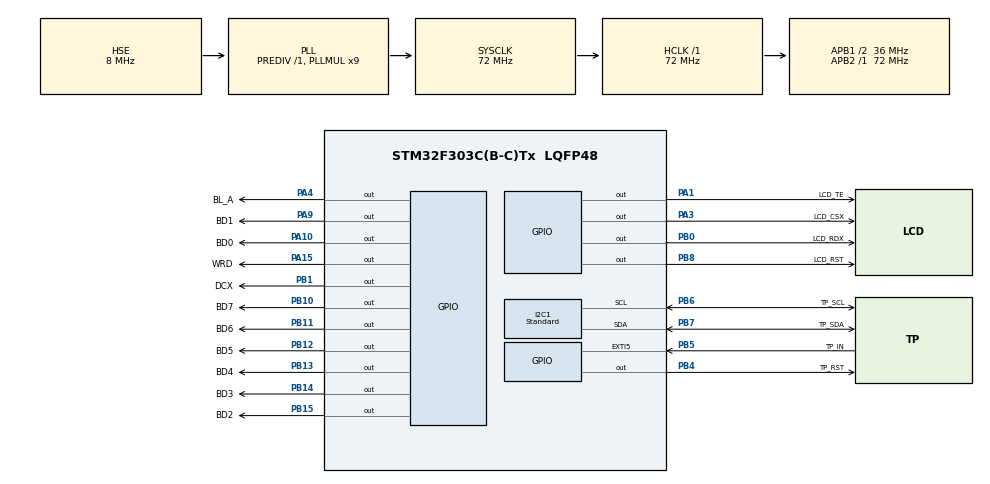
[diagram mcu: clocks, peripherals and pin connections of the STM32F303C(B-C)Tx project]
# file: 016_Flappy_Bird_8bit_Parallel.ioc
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I2C1.I2C_Speed_Mode=I2C_Standard
Mcu.Family=STM32F3
Mcu.Name=STM32F303C(B-C)Tx
Mcu.Package=LQFP48
NVIC.EXTI9_5_IRQn=true\:0\:0\:false\:false\:true\:true\:true\:true
NVIC.PriorityGroup=NVIC_PRIORITYGROUP_4
PA1.GPIO_Label=LCD_TE
PA1.GPIO_Speed=GPIO_SPEED_FREQ_HIGH
PA1.Signal=GPIO_Output
PA10.GPIO_Label=BD0
PA10.GPIO_Speed=GPIO_SPEED_FREQ_HIGH
PA10.Signal=GPIO_Output
PA13.Mode=Trace_Asynchronous_SW
PA13.Signal=SYS_JTMS-SWDIO
PA14.Mode=Trace_Asynchronous_SW
PA14.Signal=SYS_JTCK-SWCLK
PA15.GPIO_Label=WRD
PA15.GPIO_Speed=GPIO_SPEED_FREQ_HIGH
PA15.Signal=GPIO_Output
PA3.GPIO_Label=LCD_CSX
PA3.GPIO_Speed=GPIO_SPEED_FREQ_HIGH
PA3.Signal=GPIO_Output
PA4.GPIO_Label=BL_A
PA4.GPIO_Speed=GPIO_SPEED_FREQ_HIGH
PA4.Signal=GPIO_Output
PA9.GPIO_Label=BD1
PA9.GPIO_Speed=GPIO_SPEED_FREQ_HIGH
PA9.Signal=GPIO_Output
PB0.GPIO_Label=LCD_RDX
PB0.GPIO_Speed=GPIO_SPEED_FREQ_HIGH
PB0.Signal=GPIO_Output
PB1.GPIO_Label=DCX
PB1.GPIO_Speed=GPIO_SPEED_FREQ_HIGH
PB1.Signal=GPIO_Output
PB10.GPIO_Label=BD7
PB10.GPIO_Speed=GPIO_SPEED_FREQ_HIGH
PB10.Signal=GPIO_Output
PB11.GPIO_Label=BD6
PB11.GPIO_Speed=GPIO_SPEED_FREQ_HIGH
PB11.Signal=GPIO_Output
PB12.GPIO_Label=BD5
PB12.GPIO_Speed=GPIO_SPEED_FREQ_HIGH
PB12.Signal=GPIO_Output
PB13.GPIO_Label=BD4
PB13.GPIO_Speed=GPIO_SPEED_FREQ_HIGH
PB13.Signal=GPIO_Output
PB14.GPIO_Label=BD3
PB14.GPIO_Speed=GPIO_SPEED_FREQ_HIGH
PB14.Signal=GPIO_Output
PB15.GPIO_Label=BD2
PB15.GPIO_Speed=GPIO_SPEED_FREQ_HIGH
PB15.Signal=GPIO_Output
PB3.Mode=Trace_Asynchronous_SW
PB3.Signal=SYS_JTDO-TRACESWO
PB4.GPIO_Label=TP_RST
PB4.GPIO_Speed=GPIO_SPEED_FREQ_HIGH
PB4.Signal=GPIO_Output
PB5.GPIO_Label=TP_IN
PB5.Signal=GPXTI5
PB6.GPIO_Label=TP_SCL
PB6.Mode=I2C
PB6.Signal=I2C1_SCL
PB7.GPIO_Label=TP_SDA
PB7.Mode=I2C
PB7.Signal=I2C1_SDA
PB8.GPIO_FM8=SYSCFG_CFGR1_I2C_PB8_FMP
PB8.GPIO_Label=LCD_RST
PB8.GPIO_Speed=GPIO_SPEED_FREQ_HIGH
PB8.PinState=GPIO_PIN_RESET
PB8.Signal=GPIO_Output
PF0-OSC_IN.Mode=HSE-External-Oscillator
PF0-OSC_IN.Signal=RCC_OSC_IN
PF1-OSC_OUT.Mode=HSE-External-Oscillator
PF1-OSC_OUT.Signal=RCC_OSC_OUT
ProjectManager.HeapSize=0x400
ProjectManager.StackSize=0x600
ProjectManager.TargetToolchain=STM32CubeIDE
RCC.AHBFreq_Value=72000000
RCC.APB1CLKDivider=RCC_HCLK_DIV2
RCC.APB1Freq_Value=36000000
RCC.APB1TimFreq_Value=72000000
RCC.APB2Freq_Value=72000000
RCC.APB2TimFreq_Value=72000000
RCC.CortexFreq_Value=72000000
RCC.HCLKFreq_Value=72000000
RCC.HSE_VALUE=8000000
RCC.HSI_VALUE=8000000
RCC.LSE_VALUE=32768
RCC.PLLMUL=RCC_PLL_MUL9
RCC.PLLSourceVirtual=RCC_PLLSOURCE_HSE
RCC.SYSCLKFreq_VALUE=72000000
RCC.SYSCLKSourceVirtual=RCC_SYSCLKSOURCE_PLLCLK
RCC.USBFreq_Value=72000000
board=custom

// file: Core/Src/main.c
/* USER CODE BEGIN Header */
/**
  ******************************************************************************
  * @file           : main.c
  * @brief          : Main program body
  ******************************************************************************
  * @attention
  *
  * Copyright (c) 2024 STMicroelectronics.
  * All rights reserved.
  *
  * This software is licensed under terms that can be found in the LICENSE file
  * in the root directory of this software component.
  * If no LICENSE file comes with this software, it is provided AS-IS.
  *
  ******************************************************************************
  */
/* USER CODE END Header */
#include "main.h"

/* USER CODE BEGIN Includes */
#include <string.h>
#include <stdio.h>
#include "mpu6050.h"
#include "player.h"
#include "background.h"
#include "obstacle.h"
#include "text_mssg.h"
#include "font.h"
#include "GC9A01A.h"
#include "CST816S.h"
/* USER CODE END Includes */

I2C_HandleTypeDef hi2c1;

/* USER CODE BEGIN PV */
double degreex, degreey;
int collision_detected = false;
int countdown_complete = false;
/* USER CODE END PV */

void SystemClock_Config(void);
static void MX_GPIO_Init(void);
static void MX_I2C1_Init(void);
/* USER CODE BEGIN PFP */
void is_Collide(Obstacle *obstacle, Player *player);
void nano_lcd_Init(void);
void tick();
/* USER CODE END PFP */

/* USER CODE BEGIN 0 */
GamteState game_state ;
Player player;
Obstacle obstacle;

static void Player_ctor(Player* player, int player_x, int player_w, int player_y, int player_h) {
	player->x = player_x;
	player->w = player_w;
	player->y = player_y;
	player->h = player_h;
	player->score = 0;
}

static void Obstacle_ctor(Obstacle* obstacle, int obstacle_x, int obstacle_w, int obstacle_y, int obstacle_g,
                            int obstacle_s) {
	obstacle->x = obstacle_x;
	obstacle->w = obstacle_w;
	obstacle->y = obstacle_y;
	obstacle->h = 0;
	obstacle->g = obstacle_g;
	obstacle->speed  = obstacle_s;
	obstacle->passed = false;
}
/* USER CODE END 0 */

int main(void)
{

  /* USER CODE BEGIN 1 */
	static uint32_t current_time;
	current_time = HAL_GetTick();
  /* USER CODE END 1 */

  /* MCU Configuration--------------------------------------------------------*/

  /* Reset of all peripherals, Initializes the Flash interface and the Systick. */
  HAL_Init();

  /* Configure the system clock */
  SystemClock_Config();

  /* Initialize all configured peripherals */
  MX_GPIO_Init();
  MX_I2C1_Init();
  /* USER CODE BEGIN 2 */
  Player_ctor(&player, 70, 30, 100, 30);
  Obstacle_ctor(&obstacle, 240, 30, 30, 80, 5);
  mpu6050_init();
  bsp_lcd_init();
  CST816S_init();
  flappy_game_set_back_ground();

  double prev_degreey = degreey; // Initialize previous angle variable
  static double angle_delta = 0.0; // Variable to store the angle change
  /* USER CODE END 2 */

  /* Infinite loop */
  while (1)
  {

    /* USER CODE BEGIN 3 */
  	mpu6050_read();

    if(HAL_GetTick() - current_time >= 2) {

      current_time = HAL_GetTick();

      angle_delta = degreey - prev_degreey;
      prev_degreey = degreey;
      double smoothing_factor = 6;

      player.y -= smoothing_factor * angle_delta;
      player.y += GRAVITY_PULL;

      if (player.y <= PLAYER_ySTART_POINT) {
        player.y = PLAYER_ySTART_POINT;
      } else if (player.y >= PLAYER_yEND_POINT) {
        player.y = PLAYER_yEND_POINT;
      }
      tick();
    }
  }
  /* USER CODE END 3 */
}

void SystemClock_Config(void)
{
  RCC_OscInitTypeDef RCC_OscInitStruct = {0};
  RCC_ClkInitTypeDef RCC_ClkInitStruct = {0};
  RCC_PeriphCLKInitTypeDef PeriphClkInit = {0};

  /** Initializes the RCC Oscillators according to the specified parameters
  * in the RCC_OscInitTypeDef structure.
  */
  RCC_OscInitStruct.OscillatorType = RCC_OSCILLATORTYPE_HSI|RCC_OSCILLATORTYPE_HSE;
  RCC_OscInitStruct.HSEState = RCC_HSE_ON;
  RCC_OscInitStruct.HSEPredivValue = RCC_HSE_PREDIV_DIV1;
  RCC_OscInitStruct.HSIState = RCC_HSI_ON;
  RCC_OscInitStruct.HSICalibrationValue = RCC_HSICALIBRATION_DEFAULT;
  RCC_OscInitStruct.PLL.PLLState = RCC_PLL_ON;
  RCC_OscInitStruct.PLL.PLLSource = RCC_PLLSOURCE_HSE;
  RCC_OscInitStruct.PLL.PLLMUL = RCC_PLL_MUL9;
  if (HAL_RCC_OscConfig(&RCC_OscInitStruct) != HAL_OK)
  {
    Error_Handler();
  }

  /** Initializes the CPU, AHB and APB buses clocks
  */
  RCC_ClkInitStruct.ClockType = RCC_CLOCKTYPE_HCLK|RCC_CLOCKTYPE_SYSCLK
                              |RCC_CLOCKTYPE_PCLK1|RCC_CLOCKTYPE_PCLK2;
  RCC_ClkInitStruct.SYSCLKSource = RCC_SYSCLKSOURCE_PLLCLK;
  RCC_ClkInitStruct.AHBCLKDivider = RCC_SYSCLK_DIV1;
  RCC_ClkInitStruct.APB1CLKDivider = RCC_HCLK_DIV2;
  RCC_ClkInitStruct.APB2CLKDivider = RCC_HCLK_DIV1;

  if (HAL_RCC_ClockConfig(&RCC_ClkInitStruct, FLASH_LATENCY_2) != HAL_OK)
  {
    Error_Handler();
  }
  PeriphClkInit.PeriphClockSelection = RCC_PERIPHCLK_I2C1;
  PeriphClkInit.I2c1ClockSelection = RCC_I2C1CLKSOURCE_HSI;
  if (HAL_RCCEx_PeriphCLKConfig(&PeriphClkInit) != HAL_OK)
  {
    Error_Handler();
  }
}

static void MX_I2C1_Init(void)
{

  hi2c1.Instance = I2C1;
  hi2c1.Init.Timing = 0x2000090E;
  hi2c1.Init.OwnAddress1 = 0;
  hi2c1.Init.AddressingMode = I2C_ADDRESSINGMODE_7BIT;
  hi2c1.Init.DualAddressMode = I2C_DUALADDRESS_DISABLE;
  hi2c1.Init.OwnAddress2 = 0;
  hi2c1.Init.OwnAddress2Masks = I2C_OA2_NOMASK;
  hi2c1.Init.GeneralCallMode = I2C_GENERALCALL_DISABLE;
  hi2c1.Init.NoStretchMode = I2C_NOSTRETCH_DISABLE;
  if (HAL_I2C_Init(&hi2c1) != HAL_OK)
  {
    Error_Handler();
  }

  /** Configure Analogue filter
  */
  if (HAL_I2CEx_ConfigAnalogFilter(&hi2c1, I2C_ANALOGFILTER_ENABLE) != HAL_OK)
  {
    Error_Handler();
  }

  /** Configure Digital filter
  */
  if (HAL_I2CEx_ConfigDigitalFilter(&hi2c1, 0) != HAL_OK)
  {
    Error_Handler();
  }

}

static void MX_GPIO_Init(void)
{
  GPIO_InitTypeDef GPIO_InitStruct = {0};

  /* GPIO Ports Clock Enable */
  __HAL_RCC_GPIOF_CLK_ENABLE();
  __HAL_RCC_GPIOA_CLK_ENABLE();
  __HAL_RCC_GPIOB_CLK_ENABLE();

  /*Configure GPIO pin Output Level */
  HAL_GPIO_WritePin(GPIOA, LCD_TE_Pin|LCD_CSX_Pin|BL_A_Pin|BD1_Pin
                          |BD0_Pin|WRD_Pin, GPIO_PIN_RESET);

  /*Configure GPIO pin Output Level */
  HAL_GPIO_WritePin(GPIOB, LCD_RDX_Pin|DCX_Pin|BD7_Pin|BD6_Pin
                          |BD5_Pin|BD4_Pin|BD3_Pin|BD2_Pin
                          |TP_RST_Pin|LCD_RST_Pin, GPIO_PIN_RESET);

  /*Configure GPIO pins : LCD_TE_Pin LCD_CSX_Pin BL_A_Pin BD1_Pin
                           BD0_Pin WRD_Pin */
  GPIO_InitStruct.Pin = LCD_TE_Pin|LCD_CSX_Pin|BL_A_Pin|BD1_Pin
                          |BD0_Pin|WRD_Pin;
  GPIO_InitStruct.Mode = GPIO_MODE_OUTPUT_PP;
  GPIO_InitStruct.Pull = GPIO_NOPULL;
  GPIO_InitStruct.Speed = GPIO_SPEED_FREQ_HIGH;
  HAL_GPIO_Init(GPIOA, &GPIO_InitStruct);

  /*Configure GPIO pins : LCD_RDX_Pin DCX_Pin BD7_Pin BD6_Pin
                           BD5_Pin BD4_Pin BD3_Pin BD2_Pin
                           TP_RST_Pin LCD_RST_Pin */
  GPIO_InitStruct.Pin = LCD_RDX_Pin|DCX_Pin|BD7_Pin|BD6_Pin
                          |BD5_Pin|BD4_Pin|BD3_Pin|BD2_Pin
                          |TP_RST_Pin|LCD_RST_Pin;
  GPIO_InitStruct.Mode = GPIO_MODE_OUTPUT_PP;
  GPIO_InitStruct.Pull = GPIO_NOPULL;
  GPIO_InitStruct.Speed = GPIO_SPEED_FREQ_HIGH;
  HAL_GPIO_Init(GPIOB, &GPIO_InitStruct);

  /*Configure GPIO pin : TP_IN_Pin */
  GPIO_InitStruct.Pin = TP_IN_Pin;
  GPIO_InitStruct.Mode = GPIO_MODE_IT_RISING;
  GPIO_InitStruct.Pull = GPIO_NOPULL;
  HAL_GPIO_Init(TP_IN_GPIO_Port, &GPIO_InitStruct);

  /**/
  HAL_I2CEx_EnableFastModePlus(SYSCFG_CFGR1_I2C_PB8_FMP);

  /* EXTI interrupt init*/
  HAL_NVIC_SetPriority(EXTI9_5_IRQn, 0, 0);
  HAL_NVIC_EnableIRQ(EXTI9_5_IRQn);

}

/* USER CODE BEGIN 4 */
/**
  * @brief Updates the game state based on events and conditions.
  * @param None
  * @retval None
  */
void tick() {
	switch (game_state) {
		case GAME_INIT: {
		  uint8_t start_btn =  start_btn_state();
			game_init_mssg();

			if (start_btn == PRESSED) {
				flappy_game_set_back_ground();
				game_state = GAME_PRESTART;
			}
		}
		break;

		case GAME_PRESTART: {
			move_player(player.y);
			render_gamestart_countdown();
			if(countdown_complete == true) {
				game_state = GAME_START;
			}
		}
		break;

		case GAME_START: {
			is_Collide(&obstacle, &player);
			if(collision_detected == true) {
			  set_gameover_background();
				game_state = GAME_OVER;
			} else {
			  obstacle.speed = get_obstacle_speed(player.score);
			  obstacle.x -= obstacle.speed;

			  move_player( player.y);
				if(obstacle.x >= 0) {
					move_obstacle(obstacle.x);
				} else {
				  gc9a01a_fill_rect(0, 40, 0, 240,BACKGROUND);
					obstacle.x = 240;
				}
				player_show_score(&player);
			}
		}
		break;

		case GAME_OVER: {
			collision_detected = false;
			game_over_mssg();
			uint8_t restart_btn =  restart_btn_state();
			if (restart_btn == PRESSED) {
			  Player_ctor(&player, 70, 30, 100, 30);
				Obstacle_ctor(&obstacle, 240, 30, 30, 80, 5);
				flappy_game_set_back_ground();
				game_state = GAME_PRESTART;
			}
		}
		break;
	}
}

/**
  * @brief Checks for collision between an obstacle and the player.
  * @param obstacle: Pointer to the Obstacle struct containing obstacle information.
  * @param player: Pointer to the Player struct containing player information.
  * @retval None
  */
void is_Collide(Obstacle *obstacle, Player *player) {
	int player_left = player->x;
	int player_right = player->x + player->w -5;
	int player_top = player->y;
	int player_bottom = player->y + player->h-5;

	int obstacle_left = obstacle->x;
	int obstacle_right = obstacle->x + obstacle->w;

	obstacle->h = generate_obstacle_height(obstacle->x);
	int obstacle_bottom = OBSTACLE_ySTART_POINT + obstacle->h -5;

	if (player_right  >= obstacle_left && player_left <= obstacle_right ){
		if( (player_top  < obstacle_bottom) || (player_bottom > (obstacle_bottom + obstacle->g +10))) {
			collision_detected = true;
		} else if (!obstacle->passed) {  // Only update score if the obstacle hasn't been passed
      player->score += 1;
      obstacle->passed = true;  // Mark the obstacle as passed
    }
	} else {
    obstacle->passed = false;   // Reset the flag when the player is not near the obstacle
  }
}

/* USER CODE END 4 */

void Error_Handler(void)
{
  __disable_irq();
  while (1)
  {
  }
}
